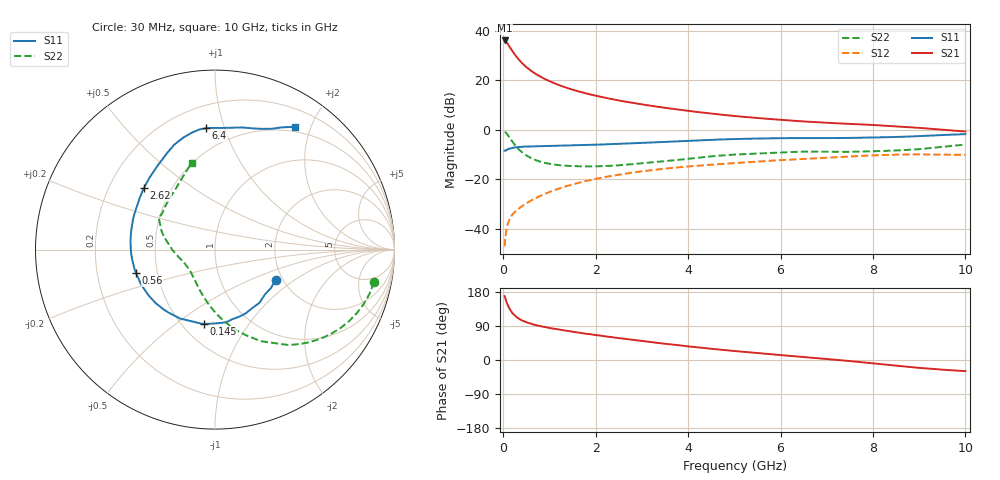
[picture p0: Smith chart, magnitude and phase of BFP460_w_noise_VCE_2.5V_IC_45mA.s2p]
! (c) 2016  Infineon Technologies AG, Munich
! Infineon Technologies  Discrete & RF Semiconductors
! BFP460
! VCE =  2.5 V,  IC =  45 mA
! Common Emitter S-Parameters:  Jan 2016
# GHz  S  MA  R  50
!  f  S11  S21  S12  S22
! GHz  MAG  ANG  MAG  ANG  MAG  ANG  MAG  ANG
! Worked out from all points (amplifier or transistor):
!   229 points, 30 MHz to 10 GHz, reference 50 ohm
!   highest |S21| = 36.1 dB at 30 MHz (marker M1)
!   |S21| within 3 dB of that: start of sweep to 153.1 MHz
!   unconditionally stable (mu >= 1): 1.191 GHz to 7.539 GHz
!   at 280 MHz: K = 0.62, MSG = 31.2 dB, |S12| = -32.8 dB
!   at 1.78 GHz: K = 1.03, MAG = 16.8 dB, |S12| = -20.8 dB
!   at 10 GHz: K = 0.97, MSG = 4.7 dB, |S12| = -10.2 dB
!   lowest NFmin = 1.72 dB at 3.5 GHz
!   S11 on the Smith chart (normalised r, x): 30 MHz: 1.84, -0.72; 145 MHz: 0.64, -0.64; 560 MHz: 0.38, -0.12; 2.62 GHz: 0.35, +0.33; 6.4 GHz: 0.35, +0.87; 10 GHz: 0.43, +1.76
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0.03  0.3775 -26.5  64.07 168.7  0.0044 84.2  0.9042 -11.6
0.05  0.374 -42.1  61.72 160.5  0.0071 78.8  0.8826 -20.1
0.07  0.3864 -58.1  59.25 153.5  0.0093 73.8  0.8468 -28.0
0.08  0.3947 -64.3  57.68 150.5  0.0105 72.2  0.826 -31.8
0.11  0.4102 -81.5  52.53 141.8  0.0133 67.6  0.7569 -41.8
0.145  0.4176 -98.2  46.67 133.4  0.016 63.3  0.6771 -51.5
0.2  0.4307 -117.0  38.83 123.6  0.0193 60.4  0.5699 -63.5
0.26  0.4395 -130.7  32.34 116.1  0.0221 58.9  0.4818 -73.1
0.3  0.4451 -137.9  28.87 112.0  0.0239 58.7  0.4351 -78.7
0.4  0.4518 -150.7  22.63 104.7  0.0281 59.5  0.3537 -89.4
0.56  0.4585 -163.6  16.77 97.3  0.035 61.5  0.2806 -101.3
0.7  0.4638 -171.6  13.51 92.2  0.0412 62.6  0.2432 -110.1
1  0.4709 176.5  9.596 84.5  0.0549 63.6  0.2041 -123.4
1.3  0.4783 167.6  7.434 78.3  0.0689 63.1  0.1885 -133.0
1.7  0.4887 157.8  5.721 71.0  0.0874 61.1  0.1814 -142.7
2.62  0.5243 138.9  3.729 55.9  0.1284 53.9  0.1943 -162.2
3.4  0.5611 125.9  2.863 44.5  0.1594 46.8  0.2267 -176.0
5.1  0.6514 104.9  1.859 22.7  0.2143 33.1  0.3172 160.2
6.4  0.6779 94.2  1.493 8.8  0.2533 23.1  0.3578 151.0
6.8  0.6776 90.6  1.416 4.7  0.2651 20.3  0.3588 149.4
8.4  0.7092 72.1  1.186 -13.7  0.3115 5.6  0.3769 133.7
10  0.8146 57.0  0.92 -29.3  0.3101 -7.1  0.5011 104.9
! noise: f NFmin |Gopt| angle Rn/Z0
0.45  1.77  0.29  -170  0.13
0.9  1.79  0.27  -162  0.14
1.9  1.89  0.36  -141  0.15
3.5  1.72  0.59  -117  0.24
